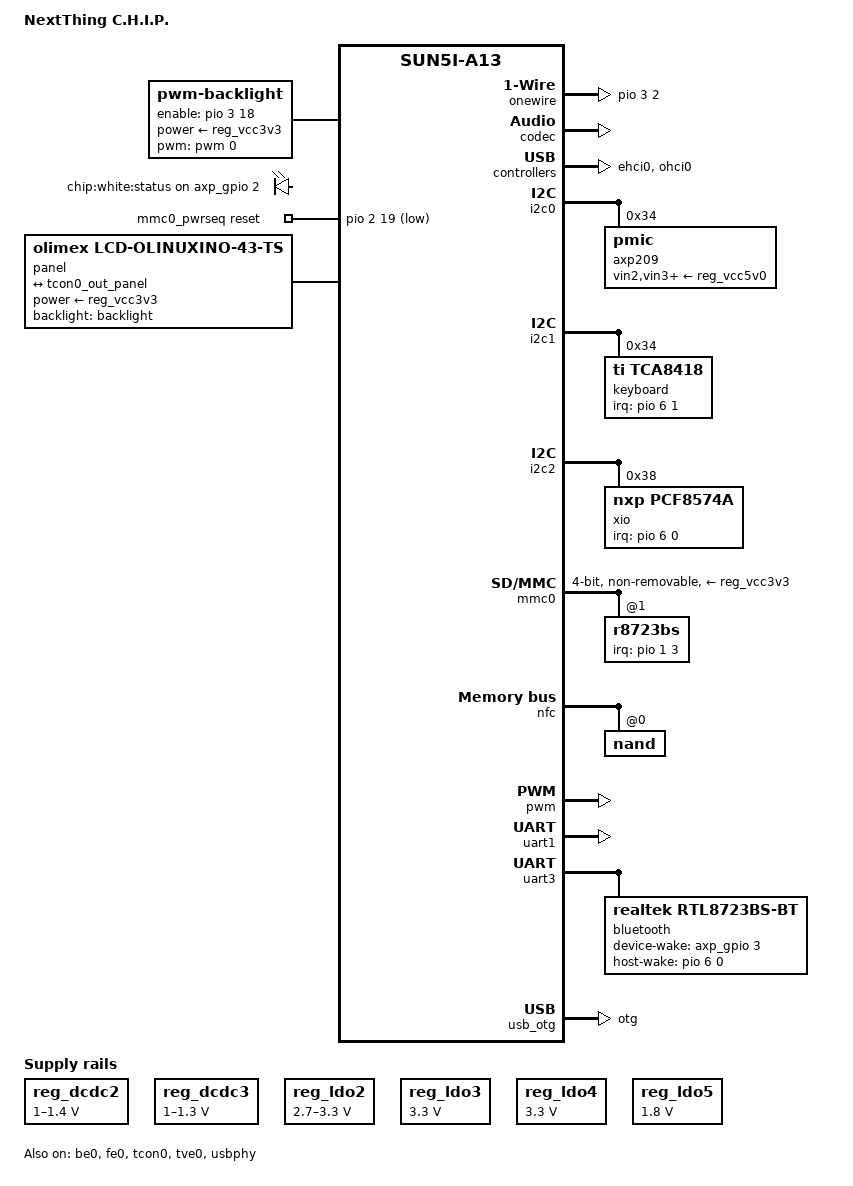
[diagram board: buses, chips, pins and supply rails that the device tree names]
/*
 * Copyright 2015 Free Electrons
 * Copyright 2015 NextThing Co
 *
 * Maxime Ripard <maxime.ripard@free-electrons.com>
 *
 * This file is dual-licensed: you can use it either under the terms
 * of the GPL or the X11 license, at your option. Note that this dual
 * licensing only applies to this file, and not this project as a
 * whole.
 *
 *  a) This file is free software; you can redistribute it and/or
 *     modify it under the terms of the GNU General Public License as
 *     published by the Free Software Foundation; either version 2 of the
 *     License, or (at your option) any later version.
 *
 *     This file is distributed in the hope that it will be useful,
 *     but WITHOUT ANY WARRANTY; without even the implied warranty of
 *     MERCHANTABILITY or FITNESS FOR A PARTICULAR PURPOSE.  See the
 *     GNU General Public License for more details.
 *
 * Or, alternatively,
 *
 *  b) Permission is hereby granted, free of charge, to any person
 *     obtaining a copy of this software and associated documentation
 *     files (the "Software"), to deal in the Software without
 *     restriction, including without limitation the rights to use,
 *     copy, modify, merge, publish, distribute, sublicense, and/or
 *     sell copies of the Software, and to permit persons to whom the
 *     Software is furnished to do so, subject to the following
 *     conditions:
 *
 *     The above copyright notice and this permission notice shall be
 *     included in all copies or substantial portions of the Software.
 *
 *     THE SOFTWARE IS PROVIDED "AS IS", WITHOUT WARRANTY OF ANY KIND,
 *     EXPRESS OR IMPLIED, INCLUDING BUT NOT LIMITED TO THE WARRANTIES
 *     OF MERCHANTABILITY, FITNESS FOR A PARTICULAR PURPOSE AND
 *     NONINFRINGEMENT. IN NO EVENT SHALL THE AUTHORS OR COPYRIGHT
 *     HOLDERS BE LIABLE FOR ANY CLAIM, DAMAGES OR OTHER LIABILITY,
 *     WHETHER IN AN ACTION OF CONTRACT, TORT OR OTHERWISE, ARISING
 *     FROM, OUT OF OR IN CONNECTION WITH THE SOFTWARE OR THE USE OR
 *     OTHER DEALINGS IN THE SOFTWARE.
 */

/dts-v1/;
#include "sun5i-r8.dtsi"
#include "sunxi-common-regulators.dtsi"

#include <dt-bindings/gpio/gpio.h>
#include <dt-bindings/input/input.h>
#include <dt-bindings/interrupt-controller/irq.h>
#include <dt-bindings/pwm/pwm.h>

/ {
	model = "NextThing C.H.I.P.";
	compatible = "nextthing,chip", "allwinner,sun5i-r8", "allwinner,sun5i-a13";

	aliases {
		i2c0 = &i2c0;
		i2c1 = &i2c1;
		i2c2 = &i2c2;
		serial0 = &uart1;
		serial1 = &uart3;
		spi0 = &spi2;
	};

	backlight: backlight {
		compatible = "pwm-backlight";
		pwms = <&pwm 0 8000 PWM_POLARITY_INVERTED>;
		power-supply = <&reg_vcc3v3>;
		brightness-levels = <0 1 2 4 8 12 16 24 28 32 100>;
		default-brightness-level = <8>;
		enable-gpios = <&pio 3 18 GPIO_ACTIVE_HIGH>;
	};

	chosen {
		stdout-path = "serial0:115200n8";
	};

	leds {
		compatible = "gpio-leds";

		status {
			label = "chip:white:status";
			gpios = <&axp_gpio 2 GPIO_ACTIVE_HIGH>;
			default-state = "on";
		};
	};

	mmc0_pwrseq: mmc0_pwrseq {
		compatible = "mmc-pwrseq-simple";
		reset-gpios = <&pio 2 19 GPIO_ACTIVE_LOW>; /* PC19 */
	};

	onewire {
		compatible = "w1-gpio";
		gpios = <&pio 3 2 (GPIO_ACTIVE_HIGH | GPIO_PULL_UP)>; /* PD2 */
	};

	panel {
		power-supply = <&reg_vcc3v3>;
		compatible = "olimex,lcd-olinuxino-43-ts";
		backlight = <&backlight>;

		port {
			panel_input: endpoint {
				remote-endpoint = <&tcon0_out_panel>;
			};
		};
	};
};

&be0 {
	status = "okay";
};

&codec {
	status = "okay";
};

&cpu0 {
	cpu-supply = <&reg_dcdc2>;
	operating-points =
		/* kHz    uV */
		<1008000 1400000>,
		<912000  1350000>,
		<864000  1300000>,
		<624000  1200000>,
		<576000  1200000>,
		<432000  1200000>;
};

&ehci0 {
	status = "okay";
};

&i2c0 {
	status = "okay";

	axp209: pmic@34 {
		reg = <0x34>;

		/*
		 * The interrupt is routed through the "External Fast
		 * Interrupt Request" pin (ball G13 of the module)
		 * directly to the main interrupt controller, without
		 * any other controller interfering.
		 */
		interrupts = <0>;
	};
};

#include "axp209.dtsi"

&ac_power_supply {
	status = "okay";
};

&axp209 {
	/* IPSOUT is a fixed 5v that feeds these regulators. */
	vin2-supply = <&reg_vcc5v0>;
	vin3-supply = <&reg_vcc5v0>;
	acin-supply = <&reg_vcc5v0>;
	ldo24in-supply = <&reg_vcc5v0>;
	ldo3in-supply = <&reg_vcc5v0>;
	ldo5in-supply = <&reg_vcc5v0>;
};

&battery_power_supply {
	status = "okay";
};

&fe0 {
	status = "okay";
};

&i2c1 {
	status = "okay";

	keyboard: keyboard@34 {
		compatible = "ti,tca8418";
		reg = <0x34>;
		interrupt-parent = <&pio>;
		interrupts = <6 1 IRQ_TYPE_EDGE_FALLING>;
		keypad,num-rows = <6>;
		keypad,num-columns = <10>;
		keypad,autorepeat;
		linux,keymap = <
			MATRIX_KEY(0, 0, KEY_EQUAL)
			MATRIX_KEY(0, 1, KEY_1)
			MATRIX_KEY(0, 2, KEY_2)
			MATRIX_KEY(0, 3, KEY_3)
			MATRIX_KEY(0, 4, KEY_4)
			MATRIX_KEY(0, 5, KEY_5)
			MATRIX_KEY(0, 6, KEY_6)
			MATRIX_KEY(0, 7, KEY_7)
			MATRIX_KEY(0, 8, KEY_8)
			MATRIX_KEY(0, 9, KEY_9)
			MATRIX_KEY(1, 0, KEY_Q)
			MATRIX_KEY(1, 1, KEY_W)
			MATRIX_KEY(1, 2, KEY_E)
			MATRIX_KEY(1, 3, KEY_R)
			MATRIX_KEY(1, 4, KEY_T)
			MATRIX_KEY(1, 5, KEY_Y)
			MATRIX_KEY(1, 6, KEY_U)
			MATRIX_KEY(1, 7, KEY_I)
			MATRIX_KEY(1, 8, KEY_O)
			MATRIX_KEY(1, 9, KEY_P)
			MATRIX_KEY(2, 0, KEY_A)
			MATRIX_KEY(2, 1, KEY_S)
			MATRIX_KEY(2, 2, KEY_D)
			MATRIX_KEY(2, 3, KEY_F)
			MATRIX_KEY(2, 4, KEY_G)
			MATRIX_KEY(2, 5, KEY_H)
			MATRIX_KEY(2, 6, KEY_J)
			MATRIX_KEY(2, 7, KEY_K)
			MATRIX_KEY(2, 8, KEY_L)
			MATRIX_KEY(2, 9, KEY_ENTER)
			MATRIX_KEY(3, 0, KEY_TAB)
			MATRIX_KEY(3, 1, KEY_Z)
			MATRIX_KEY(3, 2, KEY_X)
			MATRIX_KEY(3, 3, KEY_C)
			MATRIX_KEY(3, 4, KEY_V)
			MATRIX_KEY(3, 5, KEY_B)
			MATRIX_KEY(3, 6, KEY_N)
			MATRIX_KEY(3, 7, KEY_M)
			MATRIX_KEY(3, 8, KEY_UP)
			MATRIX_KEY(3, 9, KEY_DOWN)
			MATRIX_KEY(4, 0, KEY_ESC)
			MATRIX_KEY(4, 1, KEY_RIGHTALT)
			MATRIX_KEY(4, 2, KEY_LEFTALT)
			MATRIX_KEY(4, 3, KEY_SPACE)
			MATRIX_KEY(4, 4, KEY_RIGHTCTRL)
			MATRIX_KEY(4, 5, KEY_SLASH)
			MATRIX_KEY(4, 6, KEY_RIGHTSHIFT)
			MATRIX_KEY(4, 8, KEY_LEFT)
			MATRIX_KEY(4, 9, KEY_RIGHT)
			MATRIX_KEY(5, 0, KEY_LEFTSHIFT)
			MATRIX_KEY(5, 1, KEY_0)
			MATRIX_KEY(5, 2, KEY_MINUS)
			MATRIX_KEY(5, 3, KEY_BACKSPACE)
			MATRIX_KEY(5, 4, KEY_DOT)
		>;
	};
};

&i2c1_pins {
	drive-strength = <10>;
	bias-disable;
 };

&i2c2 {
	status = "okay";

	xio: gpio@38 {
		compatible = "nxp,pcf8574a";
		reg = <0x38>;

		gpio-controller;
		#gpio-cells = <2>;

		interrupt-parent = <&pio>;
		interrupts = <6 0 IRQ_TYPE_EDGE_FALLING>;
		interrupt-controller;
		#interrupt-cells = <2>;
	};
};

&lcd_rgb565_pins {
	drive-strength = <10>;
	bias-disable;
};

/* This fixes a bug with upstream */
&mbus {
	status = "disabled";
};

&mmc0_pins {
	bias-pull-up;
};

&mmc0 {
	vmmc-supply = <&reg_vcc3v3>;
	mmc-pwrseq = <&mmc0_pwrseq>;
	bus-width = <4>;
	non-removable;
	status = "okay";
	r8723bs: r8723bs@1 {
		reg = <1>;
		interrupt-parent = <&pio>;
		interrupts = <1 3 IRQ_TYPE_EDGE_FALLING>; /* PB3 / EINT17 */
		interrupt-names = "host-wake";
	};
};

&nfc {
	pinctrl-names = "default";
	pinctrl-0 = <&nand_pins &nand_cs0_pin &nand_rb0_pin>;
	status = "okay";

	nand@0 {
		#address-cells = <2>;
		#size-cells = <2>;
		reg = <0>;
		allwinner,rb = <0>;
		nand-ecc-mode = "hw";
		nand-ecc-maximize;
		nand-on-flash-bbt;
	};
};

&ohci0 {
	status = "okay";
};

&otg_sram {
	status = "okay";
};

&pio {
	vcc-pb-supply = <&reg_vcc3v3>;
	vcc-pc-supply = <&reg_vcc3v3>;
	vcc-pd-supply = <&reg_vcc3v3>;
	vcc-pf-supply = <&reg_vcc3v3>;
	vcc-pg-supply = <&reg_vcc3v3>;
};

&pwm {
	pinctrl-names = "default";
	pinctrl-0 = <&pwm0_pin>;
	status = "okay";
};

&pwm0_pin {
	drive-strength = <10>;
	bias-disable;
};

&reg_dcdc2 {
	regulator-min-microvolt = <1000000>;
	regulator-max-microvolt = <1400000>;
	regulator-name = "cpuvdd";
	regulator-always-on;
};

&reg_dcdc3 {
	regulator-min-microvolt = <1000000>;
	regulator-max-microvolt = <1300000>;
	regulator-name = "corevdd";
	regulator-always-on;
};

&reg_ldo1 {
	regulator-name = "rtcvdd";
};

&reg_ldo2 {
	regulator-min-microvolt = <2700000>;
	regulator-max-microvolt = <3300000>;
	regulator-name = "avcc";
	regulator-always-on;
};

/*
 * Both LDO3 and LDO4 are used in parallel to power up the WiFi/BT
 * Chip.
 *
 * If those are not enabled, the SDIO part will not enumerate, and
 * since there's no way currently to pass DT infos to an SDIO device,
 * we cannot really do better than this ugly hack for now.
 */
&reg_ldo3 {
	regulator-min-microvolt = <3300000>;
	regulator-max-microvolt = <3300000>;
	regulator-name = "vcc-wifi-1";
	regulator-always-on;
};

&reg_ldo4 {
	regulator-min-microvolt = <3300000>;
	regulator-max-microvolt = <3300000>;
	regulator-name = "vcc-wifi-2";
	regulator-always-on;
};

&reg_ldo5 {
	regulator-min-microvolt = <1800000>;
	regulator-max-microvolt = <1800000>;
	regulator-name = "vcc-1v8";
};

&reg_usb0_vbus {
	vin-supply = <&reg_vcc5v0>;
	gpio = <&pio 1 10 GPIO_ACTIVE_HIGH>; /* PB10 */
	status = "okay";
};

&rtp {
	allwinner,ts-attached;
};

&spi2 {
	pinctrl-names = "default";
	pinctrl-0 = <&spi2_pe_pins>;
	status = "disabled";
};

&tcon0 {
	pinctrl-names = "default";
	pinctrl-0 = <&lcd_rgb565_pins>;
	status = "okay";
};

&tcon0_out {
	tcon0_out_panel: endpoint {
		remote-endpoint = <&panel_input>;
	};
};

&tve0 {
	status = "okay";
};

&uart1 {
	pinctrl-names = "default";
	pinctrl-0 = <&uart1_pg_pins>;
	status = "okay";
};

&uart3 {
	pinctrl-names = "default";
	pinctrl-0 = <&uart3_pg_pins>,
		    <&uart3_cts_rts_pg_pins>;
	uart-has-rtscts;
	status = "okay";

	bluetooth {
		compatible = "realtek,rtl8723bs-bt";
		device-wake-gpios = <&axp_gpio 3 GPIO_ACTIVE_HIGH>;
		host-wake-gpios = <&pio 6 0 GPIO_ACTIVE_HIGH>;
	};
};

&usb_otg {
	dr_mode = "otg";
	status = "okay";
};

&usb_power_supply {
	status = "okay";
};

&usbphy {
	status = "okay";

	usb0_id_det-gpios = <&pio 6 2 GPIO_ACTIVE_HIGH>; /* PG2 */
	usb0_vbus_power-supply = <&usb_power_supply>;
	usb0_vbus-supply = <&reg_usb0_vbus>;
	usb1_vbus-supply = <&reg_vcc5v0>;
};
